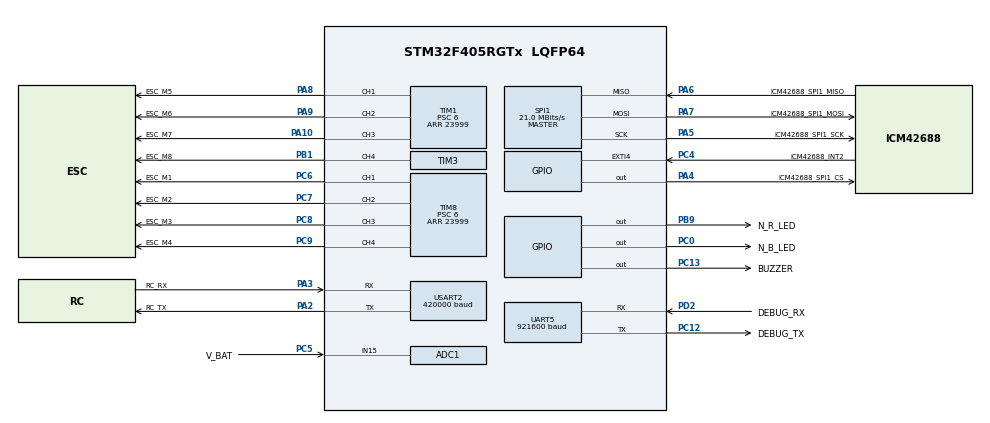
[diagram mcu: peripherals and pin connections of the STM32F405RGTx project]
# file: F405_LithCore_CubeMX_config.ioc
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ADC1.Channel-0\#ChannelRegularConversion=ADC_CHANNEL_15
ADC1.NbrOfConversionFlag=1
ADC1.Rank-0\#ChannelRegularConversion=1
ADC1.SamplingTime-0\#ChannelRegularConversion=ADC_SAMPLETIME_480CYCLES
ADC1.master=1
Dma.Request0=SPI1_RX
Dma.Request1=SPI1_TX
Dma.Request2=USART2_RX
Dma.SPI1_RX.0.Direction=DMA_PERIPH_TO_MEMORY
Dma.SPI1_RX.0.FIFOMode=DMA_FIFOMODE_DISABLE
Dma.SPI1_RX.0.Instance=DMA2_Stream0
Dma.SPI1_RX.0.MemDataAlignment=DMA_MDATAALIGN_BYTE
Dma.SPI1_RX.0.MemInc=DMA_MINC_ENABLE
Dma.SPI1_RX.0.Mode=DMA_NORMAL
Dma.SPI1_RX.0.PeriphDataAlignment=DMA_PDATAALIGN_BYTE
Dma.SPI1_RX.0.PeriphInc=DMA_PINC_DISABLE
Dma.SPI1_RX.0.Priority=DMA_PRIORITY_HIGH
Dma.SPI1_TX.1.Direction=DMA_MEMORY_TO_PERIPH
Dma.SPI1_TX.1.FIFOMode=DMA_FIFOMODE_DISABLE
Dma.SPI1_TX.1.Instance=DMA2_Stream3
Dma.SPI1_TX.1.MemDataAlignment=DMA_MDATAALIGN_BYTE
Dma.SPI1_TX.1.MemInc=DMA_MINC_ENABLE
Dma.SPI1_TX.1.Mode=DMA_NORMAL
Dma.SPI1_TX.1.PeriphDataAlignment=DMA_PDATAALIGN_BYTE
Dma.SPI1_TX.1.PeriphInc=DMA_PINC_DISABLE
Dma.SPI1_TX.1.Priority=DMA_PRIORITY_HIGH
Dma.USART2_RX.2.Direction=DMA_PERIPH_TO_MEMORY
Dma.USART2_RX.2.FIFOMode=DMA_FIFOMODE_DISABLE
Dma.USART2_RX.2.Instance=DMA1_Stream5
Dma.USART2_RX.2.MemDataAlignment=DMA_MDATAALIGN_BYTE
Dma.USART2_RX.2.MemInc=DMA_MINC_ENABLE
Dma.USART2_RX.2.Mode=DMA_CIRCULAR
Dma.USART2_RX.2.PeriphDataAlignment=DMA_PDATAALIGN_BYTE
Dma.USART2_RX.2.PeriphInc=DMA_PINC_DISABLE
Dma.USART2_RX.2.Priority=DMA_PRIORITY_MEDIUM
Mcu.Family=STM32F4
Mcu.Name=STM32F405RGTx
Mcu.Package=LQFP64
NVIC.DMA1_Stream5_IRQn=true\:5\:0\:true\:false\:true\:false\:true\:true
NVIC.DMA2_Stream0_IRQn=true\:1\:0\:true\:false\:true\:false\:true\:true
NVIC.DMA2_Stream3_IRQn=true\:3\:0\:true\:false\:true\:false\:true\:true
NVIC.EXTI4_IRQn=true\:1\:0\:true\:false\:true\:true\:true\:true
NVIC.PriorityGroup=NVIC_PRIORITYGROUP_4
NVIC.USART2_IRQn=true\:5\:0\:true\:false\:true\:true\:true\:true
PA10.GPIO_Label=ESC_M7
PA10.Signal=S_TIM1_CH3
PA2.GPIO_Label=RC_TX
PA2.Mode=Asynchronous
PA2.Signal=USART2_TX
PA3.GPIO_Label=RC_RX
PA3.Mode=Asynchronous
PA3.Signal=USART2_RX
PA4.GPIO_Label=ICM42688_SPI1_CS
PA4.GPIO_Speed=GPIO_SPEED_FREQ_HIGH
PA4.PinState=GPIO_PIN_SET
PA4.Signal=GPIO_Output
PA5.GPIO_Label=ICM42688_SPI1_SCK
PA5.Mode=Full_Duplex_Master
PA5.Signal=SPI1_SCK
PA6.GPIO_Label=ICM42688_SPI1_MISO
PA6.GPIO_Mode=GPIO_MODE_AF_PP
PA6.GPIO_PuPd=GPIO_NOPULL
PA6.Mode=Full_Duplex_Master
PA6.Signal=SPI1_MISO
PA7.GPIO_Label=ICM42688_SPI1_MOSI
PA7.Mode=Full_Duplex_Master
PA7.Signal=SPI1_MOSI
PA8.GPIO_Label=ESC_M5
PA8.Signal=S_TIM1_CH1
PA9.GPIO_Label=ESC_M6
PA9.Signal=S_TIM1_CH2
PB1.GPIO_Label=ESC_M8
PB1.Signal=S_TIM3_CH4
PB9.GPIO_Label=N_R_LED
PB9.PinState=GPIO_PIN_SET
PB9.Signal=GPIO_Output
PC0.GPIO_Label=N_B_LED
PC0.PinState=GPIO_PIN_SET
PC0.Signal=GPIO_Output
PC12.GPIO_Label=DEBUG_TX
PC12.Mode=Asynchronous
PC12.Signal=UART5_TX
PC13-ANTI_TAMP.GPIO_Label=BUZZER
PC13-ANTI_TAMP.Signal=GPIO_Output
PC4.GPIO_Label=ICM42688_INT2
PC4.GPIO_ModeDefaultEXTI=GPIO_MODE_IT_RISING
PC4.GPIO_PuPd=GPIO_NOPULL
PC4.Signal=GPXTI4
PC5.GPIO_Label=V_BAT
PC5.Signal=ADCx_IN15
PC6.GPIO_Label=ESC_M1
PC6.Signal=S_TIM8_CH1
PC7.GPIO_Label=ESC_M2
PC7.Signal=S_TIM8_CH2
PC8.GPIO_Label=ESC_M3
PC8.Signal=S_TIM8_CH3
PC9.GPIO_Label=ESC_M4
PC9.Signal=S_TIM8_CH4
PD2.GPIO_Label=DEBUG_RX
PD2.Mode=Asynchronous
PD2.Signal=UART5_RX
PH0-OSC_IN.Mode=HSE-External-Oscillator
PH0-OSC_IN.Signal=RCC_OSC_IN
PH1-OSC_OUT.Mode=HSE-External-Oscillator
PH1-OSC_OUT.Signal=RCC_OSC_OUT
ProjectManager.HeapSize=0x200
ProjectManager.StackSize=0x400
ProjectManager.TargetToolchain=CMake
RCC.48MHZClocksFreq_Value=84000000
RCC.AHBFreq_Value=168000000
RCC.APB1CLKDivider=RCC_HCLK_DIV4
RCC.APB1Freq_Value=42000000
RCC.APB1TimFreq_Value=84000000
RCC.APB2CLKDivider=RCC_HCLK_DIV2
RCC.APB2Freq_Value=84000000
RCC.APB2TimFreq_Value=168000000
RCC.CortexFreq_Value=168000000
RCC.HCLKFreq_Value=168000000
RCC.HSE_VALUE=8000000
RCC.HSI_VALUE=16000000
RCC.LSE_VALUE=32768
RCC.PLLM=4
RCC.PLLN=168
RCC.PLLSourceVirtual=RCC_PLLSOURCE_HSE
RCC.SYSCLKFreq_VALUE=168000000
RCC.SYSCLKSource=RCC_SYSCLKSOURCE_PLLCLK
RCC.VCOOutputFreq_Value=336000000
SH.ADCx_IN15.0=ADC1_IN15,IN15
SH.S_TIM1_CH1.0=TIM1_CH1,PWM Generation1 CH1
SH.S_TIM1_CH2.0=TIM1_CH2,PWM Generation2 CH2
SH.S_TIM1_CH3.0=TIM1_CH3,PWM Generation3 CH3
SH.S_TIM3_CH4.0=TIM3_CH4,PWM Generation4 CH4
SH.S_TIM8_CH1.0=TIM8_CH1,PWM Generation1 CH1
SH.S_TIM8_CH2.0=TIM8_CH2,PWM Generation2 CH2
SH.S_TIM8_CH3.0=TIM8_CH3,PWM Generation3 CH3
SH.S_TIM8_CH4.0=TIM8_CH4,PWM Generation4 CH4
SPI1.BaudRatePrescaler=SPI_BAUDRATEPRESCALER_4
SPI1.CLKPhase=SPI_PHASE_2EDGE
SPI1.CLKPolarity=SPI_POLARITY_HIGH
SPI1.CalculateBaudRate=21.0 MBits/s
SPI1.Direction=SPI_DIRECTION_2LINES
SPI1.Mode=SPI_MODE_MASTER
SPI1.VirtualType=VM_MASTER
TIM1.Channel-PWM\ Generation1\ CH1=TIM_CHANNEL_1
TIM1.Channel-PWM\ Generation2\ CH2=TIM_CHANNEL_2
TIM1.Channel-PWM\ Generation3\ CH3=TIM_CHANNEL_3
TIM1.Period=23999
TIM1.Prescaler=6
TIM1.Pulse-PWM\ Generation1\ CH1=3000
TIM1.Pulse-PWM\ Generation2\ CH2=3000
TIM1.Pulse-PWM\ Generation3\ CH3=3000
TIM3.Channel-PWM\ Generation4\ CH4=TIM_CHANNEL_4
TIM3.Period=11999
TIM3.Prescaler=6
TIM3.Pulse-PWM\ Generation4\ CH4=1500
TIM8.Channel-PWM\ Generation1\ CH1=TIM_CHANNEL_1
TIM8.Channel-PWM\ Generation2\ CH2=TIM_CHANNEL_2
TIM8.Channel-PWM\ Generation3\ CH3=TIM_CHANNEL_3
TIM8.Channel-PWM\ Generation4\ CH4=TIM_CHANNEL_4
TIM8.Period=23999
TIM8.Prescaler=6
TIM8.Pulse-PWM\ Generation1\ CH1=3000
TIM8.Pulse-PWM\ Generation2\ CH2=3000
TIM8.Pulse-PWM\ Generation3\ CH3=3000
TIM8.Pulse-PWM\ Generation4\ CH4=3000
UART5.BaudRate=921600
UART5.VirtualMode=Asynchronous
USART2.BaudRate=420000
USART2.VirtualMode=VM_ASYNC
board=custom

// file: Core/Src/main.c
/* USER CODE BEGIN Header */
/**
  ******************************************************************************
  * @file           : main.c
  * @brief          : Main program body
  ******************************************************************************
  * @attention
  *
  * Copyright (c) 2026 STMicroelectronics.
  * All rights reserved.
  *
  * This software is licensed under terms that can be found in the LICENSE file
  * in the root directory of this software component.
  * If no LICENSE file comes with this software, it is provided AS-IS.
  *
  ******************************************************************************
  */
/* USER CODE END Header */
#include "main.h"
#include "adc.h"
#include "dma.h"
#include "spi.h"
#include "tim.h"
#include "usart.h"
#include "gpio.h"

/* USER CODE BEGIN Includes */
#include "global.h"
#include "led_driver.h"
#include "esc_driver.h"
#include "remote_driver.h"
#include "security.h"
#include "debug.h"
#include "icm42688_driver.h"
#include "config.h"
#include "accel_calib.h"

/* USER CODE END Includes */

void SystemClock_Config(void);

int main(void)
{

  /* MCU Configuration--------------------------------------------------------*/

  /* Reset of all peripherals, Initializes the Flash interface and the Systick. */
  LL_APB2_GRP1_EnableClock(LL_APB2_GRP1_PERIPH_SYSCFG);
  LL_APB1_GRP1_EnableClock(LL_APB1_GRP1_PERIPH_PWR);

  /* System interrupt init*/
  NVIC_SetPriorityGrouping(NVIC_PRIORITYGROUP_4);

  /* SysTick_IRQn interrupt configuration */
  NVIC_SetPriority(SysTick_IRQn, NVIC_EncodePriority(NVIC_GetPriorityGrouping(),15, 0));

  /* Configure the system clock */
  SystemClock_Config();

  /* USER CODE BEGIN SysInit */

  /* LL_Init1msTick() (dans SystemClock_Config) démarre le SysTick à 1 ms mais SANS
   * son interruption (CTRL = CLKSOURCE | ENABLE, pas de TICKINT) : en LL pur, le
   * SysTick ne sert qu'au polling de LL_mDelay. Sans cette ligne, SysTick_Handler
   * ne tourne jamais → ms_counter reste à 0 → get_ms() = 0 → la slow loop, le
   * failsafe RC, la resynchro CRSF et la calibration accel sont tous figés.
   * Compatible avec LL_mDelay : il teste COUNTFLAG, que l'ISR ne touche pas.
   * Priorité 15 (la plus basse), réglée plus haut par CubeMX. */
  LL_SYSTICK_EnableIT();

  /* USER CODE END SysInit */

  /* Initialize all configured peripherals */
  MX_GPIO_Init();
  MX_DMA_Init();
  MX_ADC1_Init();
  MX_SPI1_Init();
  MX_TIM8_Init();
  MX_UART5_Init();
  MX_USART2_UART_Init();
  MX_TIM1_Init();
  MX_TIM3_Init();
  /* USER CODE BEGIN 2 */

  /* ── Séquence de boot applicative (ordre important) ──────────────────────
   * 1. Remote_Init     : démarre la réception CRSF (DMA + IRQ IDLE USART2). Non bloquant :
   *                      ne fait PAS attendre la radio, les trames arrivent ensuite en tâche de fond.
   * 2. Config_Load     : lit la config sauvegardée (flash secteur 11) → g_config.
   * 3. ICM42688_Init   : config IMU + self-test + calibration GYRO automatique (BLOQUANT
   *                      quelques secondes, drone IMMOBILE requis), puis lance la lecture DMA 8 kHz.
   * 4. AccelCal_Init   : applique la calibration ACCEL sauvegardée (ne lance aucune calibration).
   * 5. Boucle          : slow loop ~500 Hz (RC + calibration accel déclenchable par SA+SD).
   *
   * ESC (pas encore appelés) : ESC_Init() envoie seulement l'impulsion d'arrêt (sans risque).
   * ESC_Calibrate() et ESC_Test() font tourner les moteurs : HÉLICES DÉMONTÉES, jamais au boot. */

  Remote_Init();

  Config_Load();          /* config persistante (flash secteur 11) → g_config */

  ICM42688_Init();
  AccelCal_Init();        /* applique la calibration accel sauvegardée, s'il y en a une */

  uint32_t slow_last_ms = get_ms();

  /* USER CODE END 2 */

  /* Infinite loop */
  while (1)
  {

    /* USER CODE BEGIN 3 */

    /* Slow loop provisoire ~500 Hz (RC + calibration). La fast loop / PID tournera
     * à 8 kHz, cadencée par le DRDY de l'ICM. */
    uint32_t now_ms = get_ms();
    if (now_ms - slow_last_ms >= 2U) {
      float dt = (float)(now_ms - slow_last_ms) * 1e-3f;
      slow_last_ms = now_ms;
      Remote_Process(dt);
      AccelCal_Process();
    }
  }
  /* USER CODE END 3 */
}

void SystemClock_Config(void)
{
  LL_FLASH_SetLatency(LL_FLASH_LATENCY_5);
  while(LL_FLASH_GetLatency()!= LL_FLASH_LATENCY_5)
  {
  }
  LL_PWR_SetRegulVoltageScaling(LL_PWR_REGU_VOLTAGE_SCALE1);
  LL_RCC_HSE_Enable();

   /* Wait till HSE is ready */
  while(LL_RCC_HSE_IsReady() != 1)
  {

  }
  LL_RCC_PLL_ConfigDomain_SYS(LL_RCC_PLLSOURCE_HSE, LL_RCC_PLLM_DIV_4, 168, LL_RCC_PLLP_DIV_2);
  LL_RCC_PLL_Enable();

   /* Wait till PLL is ready */
  while(LL_RCC_PLL_IsReady() != 1)
  {

  }
  while (LL_PWR_IsActiveFlag_VOS() == 0)
  {
  }
  LL_RCC_SetAHBPrescaler(LL_RCC_SYSCLK_DIV_1);
  LL_RCC_SetAPB1Prescaler(LL_RCC_APB1_DIV_4);
  LL_RCC_SetAPB2Prescaler(LL_RCC_APB2_DIV_2);
  LL_RCC_SetSysClkSource(LL_RCC_SYS_CLKSOURCE_PLL);

   /* Wait till System clock is ready */
  while(LL_RCC_GetSysClkSource() != LL_RCC_SYS_CLKSOURCE_STATUS_PLL)
  {

  }
  LL_Init1msTick(168000000);
  LL_SetSystemCoreClock(168000000);
}

void Error_Handler(void)
{
  __disable_irq();
  while (1)
  {
  }
}
